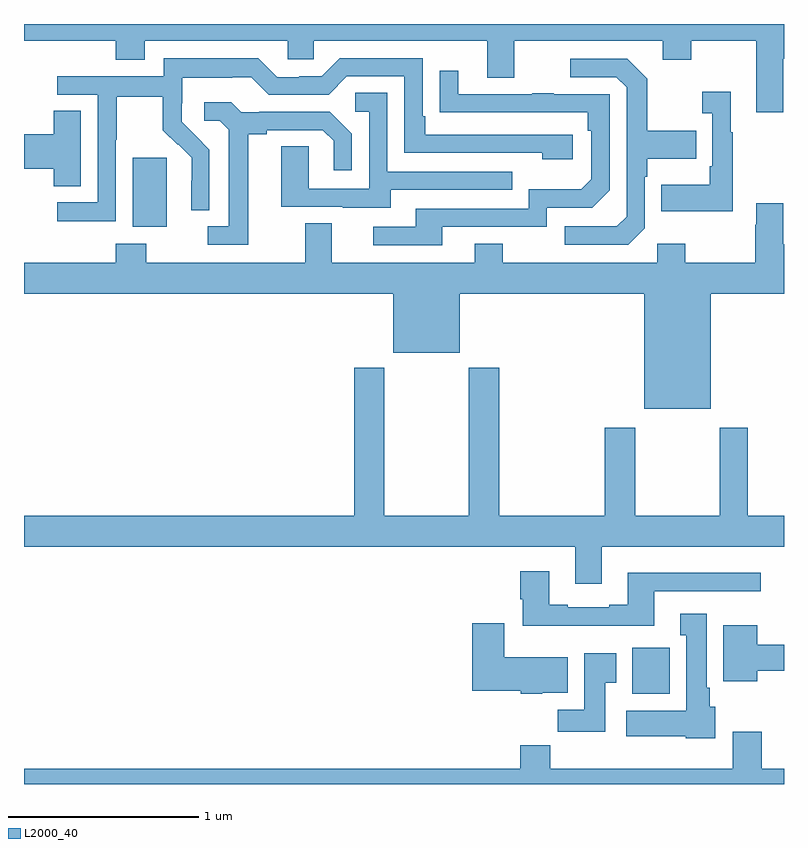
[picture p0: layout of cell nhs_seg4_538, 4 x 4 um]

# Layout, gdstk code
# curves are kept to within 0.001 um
import gdstk
lib = gdstk.Library(unit=1e-6, precision=1e-09)
def R(c, l, rs):  # rectangles x0, y0, x1, y1
    for r in rs: c.add(gdstk.rectangle(r[:2], r[2:], *l))
def P(c, l, *ps):  # polygons
    for p in ps: c.add(gdstk.Polygon(p, *l))
L2000_40 = (2000, 40)

nhs_seg4_538 = lib.new_cell('nhs_seg4_538')
R(nhs_seg4_538, L2000_40, [(140.201,801.374,140.398,801.616), (137.573,803.834,137.752,804.195)])
P(nhs_seg4_538, L2000_40, [(140.995,804.716),(141,804.716),(141,804.9),(137,804.9),(137,804.812),(137.483,804.812),(137.483,804.713),(137.635,804.713),(137.635,804.812),(138.387,804.812),(138.387,804.714),(138.525,804.714),(138.525,804.812),(139.439,804.812),(139.439,804.618),(139.579,804.618),(139.579,804.812),(140.363,804.812),(140.363,804.713),(140.511,804.713),(140.511,804.812),(140.855,804.812),(140.855,804.435),(140.995,804.435)],
  [(137.484,804.292),(137.487,804.292),(137.487,804.516),(137.731,804.516),(137.731,804.341),(137.808,804.264),(137.811,804.267),(137.882,804.197),(137.882,804.074),(137.88,804.074),(137.88,803.92),(137.976,803.92),(137.976,804.238),(137.83,804.386),(137.83,804.483),(137.832,804.483),(137.832,804.617),(138.095,804.617),(138.095,804.621),(138.195,804.621),(138.288,804.528),(138.603,804.528),(138.699,804.624),(139.002,804.624),(139.002,804.222),(139.727,804.222),(139.727,804.188),(139.888,804.188),(139.888,804.318),(139.111,804.318),(139.111,804.415),(139.098,804.415),(139.098,804.72),(138.663,804.72),(138.567,804.624),(138.449,804.624),(138.449,804.621),(138.333,804.621),(138.233,804.721),(137.736,804.721),(137.736,804.624),(137.175,804.624),(137.175,804.528),(137.388,804.528),(137.388,803.961),(137.175,803.961),(137.175,803.863),(137.484,803.863)],
  [(140.268,803.826),(140.268,804.095),(140.281,804.095),(140.281,804.191),(140.537,804.191),(140.537,804.339),(140.281,804.339),(140.281,804.611),(140.175,804.717),(139.875,804.717),(139.875,804.621),(140.118,804.621),(140.172,804.567),(140.172,803.886),(140.121,803.835),(139.845,803.835),(139.845,803.739),(140.181,803.739)],
  [(139.201,803.832),(139.752,803.832),(139.752,803.934),(139.992,803.934),(140.082,804.024),(140.082,804.531),(139.787,804.531),(139.787,804.536),(139.675,804.536),(139.675,804.531),(139.285,804.531),(139.285,804.655),(139.189,804.655),(139.189,804.436),(139.966,804.435),(139.966,804.338),(139.986,804.338),(139.986,804.084),(139.933,804.031),(139.656,804.031),(139.656,803.928),(139.061,803.928),(139.061,803.832),(138.837,803.832),(138.837,803.736),(139.201,803.736)],
  [(140.731,804.331),(140.719,804.331),(140.719,804.544),(140.571,804.544),(140.571,804.431),(140.622,804.431),(140.622,804.151),(140.61,804.151),(140.61,804.055),(140.353,804.055),(140.353,803.915),(140.731,803.915)],
  [(138.931,804.027),(139.571,804.027),(139.571,804.123),(138.912,804.123),(138.912,804.539),(138.744,804.539),(138.744,804.438),(138.816,804.438),(138.816,804.033),(138.498,804.033),(138.498,804.257),(138.353,804.257),(138.353,803.937),(138.677,803.937),(138.677,803.933),(138.931,803.933)],
  [(138.181,804.32),(138.277,804.32),(138.277,804.342),(138.572,804.342),(138.629,804.285),(138.629,804.129),(138.726,804.129),(138.726,804.322),(138.61,804.438),(138.238,804.438),(138.238,804.435),(138.144,804.435),(138.092,804.487),(137.949,804.487),(137.949,804.39),(138.03,804.39),(138.077,804.343),(138.077,803.835),(137.967,803.835),(137.967,803.739),(138.181,803.739)],
  [(137.299,804.443),(137.156,804.443),(137.156,804.32),(137,804.32),(137,804.137),(137.156,804.137),(137.156,804.046),(137.299,804.046)],
  [(140.614,803.48),(141,803.48),(141,803.74),(140.995,803.74),(140.995,803.956),(140.855,803.956),(140.855,803.843),(140.848,803.843),(140.848,803.644),(140.481,803.644),(140.481,803.743),(140.334,803.743),(140.334,803.644),(139.521,803.644),(139.521,803.743),(139.373,803.743),(139.373,803.644),(138.619,803.644),(138.619,803.852),(138.479,803.852),(138.479,803.644),(137.643,803.644),(137.643,803.743),(137.483,803.743),(137.483,803.644),(137,803.644),(137,803.48),(138.944,803.48),(138.944,803.171),(139.294,803.171),(139.294,803.48),(140.264,803.48),(140.264,802.874),(140.614,802.874)],
  [(140.041,802.148),(141,802.148),(141,802.312),(140.809,802.312),(140.809,802.774),(140.662,802.774),(140.662,802.312),(140.217,802.312),(140.217,802.774),(140.057,802.774),(140.057,802.312),(139.502,802.312),(139.502,803.092),(139.342,803.092),(139.342,802.312),(138.897,802.312),(138.897,803.092),(138.737,803.092),(138.737,802.312),(137,802.312),(137,802.148),(139.901,802.148),(139.901,801.954),(140.041,801.954)],
  [(140.317,801.915),(140.878,801.915),(140.878,802.012),(140.177,802.012),(140.177,801.844),(140.081,801.844),(140.081,801.831),(139.861,801.831),(139.861,801.844),(139.765,801.844),(139.765,802.021),(139.613,802.021),(139.613,801.873),(139.625,801.873),(139.625,801.734),(140.317,801.734)],
  [(140.638,801.306),(140.608,801.306),(140.608,801.406),(140.593,801.406),(140.593,801.796),(140.453,801.796),(140.453,801.683),(140.486,801.683),(140.486,801.286),(140.169,801.286),(140.169,801.152),(140.484,801.152),(140.484,801.14),(140.638,801.14)],
  [(139.728,801.38),(139.861,801.38),(139.861,801.568),(139.528,801.568),(139.528,801.745),(139.358,801.745),(139.358,801.392),(139.614,801.392),(139.614,801.374),(139.728,801.374)],
  [(140.86,801.496),(141,801.496),(141,801.632),(140.86,801.632),(140.86,801.736),(140.681,801.736),(140.681,801.44),(140.86,801.44)],
  [(140.059,801.433),(140.116,801.433),(140.116,801.589),(139.949,801.589),(139.949,801.292),(139.81,801.292),(139.81,801.174),(140.059,801.174)],
  [(141,800.98),(140.882,800.98),(140.882,801.175),(140.729,801.175),(140.729,800.98),(139.769,800.98),(139.769,801.104),(139.613,801.104),(139.613,800.98),(137,800.98),(137,800.9),(141,800.9)])

lib.write_gds('nhs_seg4_538.gds')
